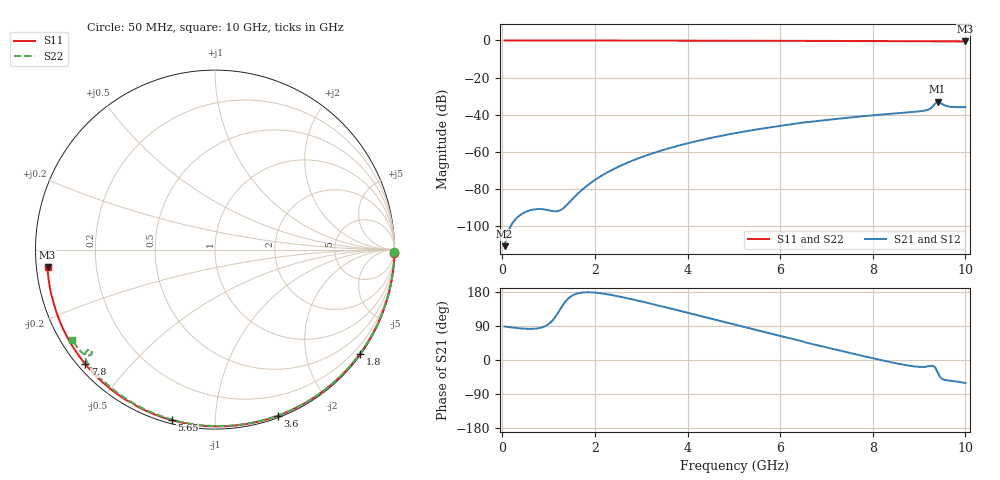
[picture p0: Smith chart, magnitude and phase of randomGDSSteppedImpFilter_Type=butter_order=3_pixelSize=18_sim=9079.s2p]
! freq	dB(S11)	phase(S11)	dB(S12)	phase(S12)
!  dB(S21)	phase(S21)	dB(S22)	phase(S22)
!S-par simulation data
#  GHz  S  DB  R 50
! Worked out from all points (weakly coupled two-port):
!   200 points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, 50 MHz to 10 GHz, reference 50 ohm
!   highest |S21| = -33.00 dB at 9.4 GHz (marker M1); lowest = -111.0 dB at 50 MHz (marker M2)
!   lowest |S11| = -0.6 dB at 10 GHz (marker M3), VSWR 31.43, Z = 1.6 - j2.63 ohm
!   |S11| at or under -10 dB: nowhere
!   |S22| runs from -1.0 to 0.0 dB; largest |S21 - S12| = 0
!   S11 on the Smith chart (normalised r, x): 50 MHz: open; 1.8 GHz: 0.03, -3.11; 3.6 GHz: 0.02, -1.45; 5.65 GHz: 0.02, -0.78; 7.8 GHz: 0.02, -0.38; 10 GHz: 0.03, -0.05
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0.05  -0.00 -1.0  -111.04 88.5  -111.04 88.5  -0.00 -0.9
0.85  -0.02 -17.1  -91.06 85.8  -91.06 85.8  -0.02 -14.5
1.75  -0.04 -34.7  -80.02 178.4  -80.02 178.4  -0.04 -29.6
1.8  -0.05 -35.7  -78.99 178.8  -78.99 178.8  -0.04 -30.5
2.1  -0.05 -41.5  -73.68 176.5  -73.68 176.5  -0.05 -35.4
2.45  -0.06 -48.1  -68.86 169.3  -68.86 169.3  -0.05 -41.1
2.9  -0.07 -56.5  -63.98 157.5  -63.98 157.5  -0.06 -48.4
3.4  -0.09 -65.7  -59.67 142.9  -59.67 142.9  -0.07 -56.3
3.6  -0.09 -69.3  -58.18 136.9  -58.18 136.9  -0.08 -59.4
4.3  -0.11 -81.6  -53.73 115.5  -53.73 115.5  -0.10 -70.1
5.05  -0.14 -94.4  -49.94 92.5  -49.94 92.5  -0.12 -81.3
5.65  -0.17 -104.3  -47.41 74.1  -47.41 74.1  -0.15 -89.9
6.7  -0.24 -121.1  -43.80 42.0  -43.80 42.0  -0.20 -104.6
7.8  -0.32 -138.5  -40.87 10.2  -40.87 10.2  -0.28 -119.5
8.35  -0.37 -147.1  -39.64 -4.8  -39.64 -4.8  -0.32 -126.9
9.15  -0.46 -159.9  -37.68 -17.7  -37.68 -17.7  -0.44 -138.4
9.25  -0.47 -161.5  -36.62 -15.4  -36.62 -15.4  -0.54 -140.3
9.35  -0.48 -163.1  -33.95 -19.9  -33.95 -19.9  -0.88 -141.8
9.4  -0.48 -163.9  -33.00 -32.4  -33.00 -32.4  -1.03 -140.6
9.5  -0.49 -165.6  -34.34 -50.1  -34.34 -50.1  -0.73 -140.0
9.65  -0.51 -168.1  -35.69 -54.3  -35.69 -54.3  -0.56 -142.5
10  -0.55 -174.0  -35.95 -60.9  -35.95 -60.9  -0.53 -147.8
